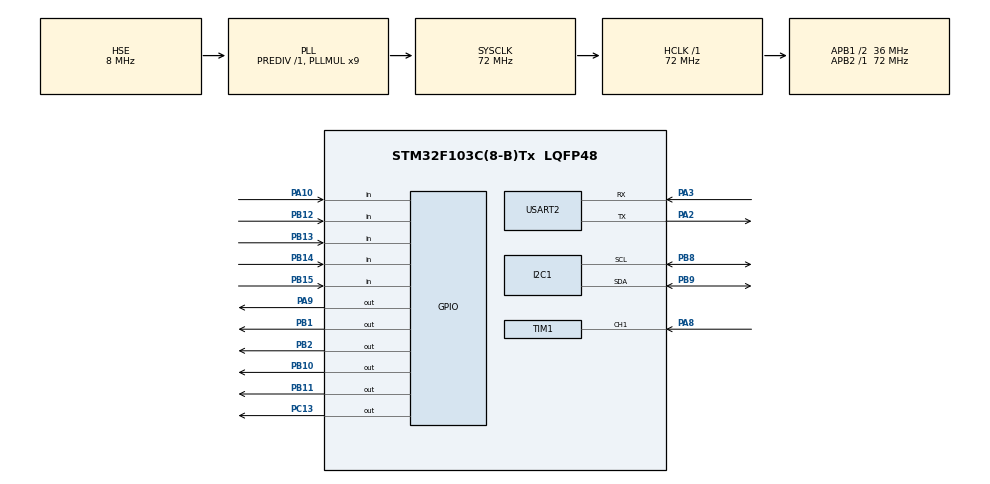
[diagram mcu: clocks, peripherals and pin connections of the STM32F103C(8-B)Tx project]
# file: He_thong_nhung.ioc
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Mcu.Family=STM32F1
Mcu.Name=STM32F103C(8-B)Tx
Mcu.Package=LQFP48
NVIC.PriorityGroup=NVIC_PRIORITYGROUP_4
NVIC.TIM1_CC_IRQn=true\:0\:0\:false\:false\:true\:true\:true\:true
NVIC.TIM1_UP_IRQn=true\:0\:0\:false\:false\:true\:true\:true\:true
NVIC.USART2_IRQn=true\:0\:0\:false\:false\:true\:true\:true\:true
PA10.GPIO_PuPd=GPIO_PULLDOWN
PA10.Signal=GPIO_Input
PA13.Mode=Serial_Wire
PA13.Signal=SYS_JTMS-SWDIO
PA14.Mode=Serial_Wire
PA14.Signal=SYS_JTCK-SWCLK
PA2.Mode=Asynchronous
PA2.Signal=USART2_TX
PA3.Mode=Asynchronous
PA3.Signal=USART2_RX
PA8.Signal=S_TIM1_CH1
PA9.Signal=GPIO_Output
PB1.GPIO_Speed=GPIO_SPEED_FREQ_HIGH
PB1.Signal=GPIO_Output
PB10.GPIO_Speed=GPIO_SPEED_FREQ_HIGH
PB10.Signal=GPIO_Output
PB11.GPIO_Speed=GPIO_SPEED_FREQ_HIGH
PB11.Signal=GPIO_Output
PB12.GPIO_PuPd=GPIO_PULLUP
PB12.Signal=GPIO_Input
PB13.GPIO_PuPd=GPIO_PULLUP
PB13.Signal=GPIO_Input
PB14.GPIO_PuPd=GPIO_PULLUP
PB14.Signal=GPIO_Input
PB15.GPIO_PuPd=GPIO_PULLUP
PB15.Signal=GPIO_Input
PB2.GPIO_Speed=GPIO_SPEED_FREQ_HIGH
PB2.Signal=GPIO_Output
PB8.Mode=I2C
PB8.Signal=I2C1_SCL
PB9.Mode=I2C
PB9.Signal=I2C1_SDA
PC13-TAMPER-RTC.Signal=GPIO_Output
PD0-OSC_IN.Mode=HSE-External-Oscillator
PD0-OSC_IN.Signal=RCC_OSC_IN
PD1-OSC_OUT.Mode=HSE-External-Oscillator
PD1-OSC_OUT.Signal=RCC_OSC_OUT
ProjectManager.HeapSize=0x200
ProjectManager.StackSize=0x400
ProjectManager.TargetToolchain=MDK-ARM V5.32
RCC.ADCPresc=RCC_ADCPCLK2_DIV6
RCC.AHBFreq_Value=72000000
RCC.APB1CLKDivider=RCC_HCLK_DIV2
RCC.APB1Freq_Value=36000000
RCC.APB1TimFreq_Value=72000000
RCC.APB2Freq_Value=72000000
RCC.APB2TimFreq_Value=72000000
RCC.HCLKFreq_Value=72000000
RCC.PLLMUL=RCC_PLL_MUL9
RCC.PLLSourceVirtual=RCC_PLLSOURCE_HSE
RCC.SYSCLKFreq_VALUE=72000000
RCC.SYSCLKSource=RCC_SYSCLKSOURCE_PLLCLK
RCC.USBFreq_Value=72000000
SH.S_TIM1_CH1.0=TIM1_CH1,Input_Capture1_from_TI1
TIM1.Channel-Input_Capture1_from_TI1=TIM_CHANNEL_1
TIM1.Prescaler=71
USART2.VirtualMode=VM_ASYNC
VP_TIM1_VS_ClockSourceINT.Mode=Internal
board=custom

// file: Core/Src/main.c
/* USER CODE BEGIN Header */
/**
  ******************************************************************************
  * @file           : main.c
  * @brief          : Main program body
  ******************************************************************************
  * @attention
  *
  * Copyright (c) 2025 STMicroelectronics.
  * All rights reserved.
  *
  * This software is licensed under terms that can be found in the LICENSE file
  * in the root directory of this software component.
  * If no LICENSE file comes with this software, it is provided AS-IS.
  *
  ******************************************************************************
  */
/* USER CODE END Header */
#include "main.h"

/* USER CODE BEGIN Includes */
#include "lcd_i2cModule.h"
#include "keypad_4x4.h"
#include "sr04.h"
#include "string.h"
#include <stdio.h>

/* USER CODE END Includes */

/* USER CODE BEGIN PTD */
#define HCSR04_PERIOD_MS 50
#define SOUNDSS_PERIOD_MS 50
#define KEYBOARD_PERIOD_MS 500
#define LCD_PERIOD_MS 250
#define UART_PERIOD_MS 50
/* USER CODE END PTD */

I2C_HandleTypeDef hi2c1;

TIM_HandleTypeDef htim1;

UART_HandleTypeDef huart2;

void SystemClock_Config(void);
static void MX_GPIO_Init(void);
static void MX_I2C1_Init(void);
static void MX_TIM1_Init(void);
static void MX_USART2_UART_Init(void);
/* USER CODE BEGIN PFP */
sr04_t sr04;
float khoang_cach = 0;
uint8_t sound = 0;
char key_val;
char buffer_sr04[20];
char buffer_kp[20];
char buffer_sound[20];
/* USER CODE END PFP */

/* USER CODE BEGIN 0 */
void handleHCSR04(void);
void handleSoundSensor(void);
void handleKeypad(void);
void handleLCD(void);
void handleUART(void);
/* USER CODE END 0 */

int main(void)
{

  /* MCU Configuration--------------------------------------------------------*/

  /* Reset of all peripherals, Initializes the Flash interface and the Systick. */
  HAL_Init();

  /* Configure the system clock */
  SystemClock_Config();

  /* Initialize all configured peripherals */
  MX_GPIO_Init();
  MX_I2C1_Init();
  MX_TIM1_Init();
  MX_USART2_UART_Init();
  /* USER CODE BEGIN 2 */
	//Init HCSR04
	sr04.trig_port = GPIOA;
  sr04.trig_pin = GPIO_PIN_9;
  sr04.echo_htim = &htim1;
  sr04.echo_channel = TIM_CHANNEL_1;
  sr04_init(&sr04);

	//Init LCD
	LCD_i2cDeviceCheck();
	LCD_Init();
	LCD_BackLight(LCD_BL_ON);

	//Init keypad
	keypad_init();
  /* USER CODE END 2 */

  /* Infinite loop */
  /* USER CODE BEGIN WHILE */
  while (1)
  {
		//Kiem tra va xu ly su kien cam bien am thanh
		handleSoundSensor();

		//Kiem tra va xu ly su kien cam bien sieu am
		handleHCSR04();

		//Kiem tra va xu ly su kien keypad
		handleKeypad();

		//Kiem tra va xu ly su kien LCD
		handleLCD();

		//Kiem tra va xu ly su kien UART
		handleUART();

    /* USER CODE END WHILE */

    /* USER CODE BEGIN 3 */

		HAL_Delay(100);
  }
  /* USER CODE END 3 */
}

void SystemClock_Config(void)
{
  RCC_OscInitTypeDef RCC_OscInitStruct = {0};
  RCC_ClkInitTypeDef RCC_ClkInitStruct = {0};

  /** Initializes the RCC Oscillators according to the specified parameters
  * in the RCC_OscInitTypeDef structure.
  */
  RCC_OscInitStruct.OscillatorType = RCC_OSCILLATORTYPE_HSE;
  RCC_OscInitStruct.HSEState = RCC_HSE_ON;
  RCC_OscInitStruct.HSEPredivValue = RCC_HSE_PREDIV_DIV1;
  RCC_OscInitStruct.HSIState = RCC_HSI_ON;
  RCC_OscInitStruct.PLL.PLLState = RCC_PLL_ON;
  RCC_OscInitStruct.PLL.PLLSource = RCC_PLLSOURCE_HSE;
  RCC_OscInitStruct.PLL.PLLMUL = RCC_PLL_MUL9;
  if (HAL_RCC_OscConfig(&RCC_OscInitStruct) != HAL_OK)
  {
    Error_Handler();
  }

  /** Initializes the CPU, AHB and APB buses clocks
  */
  RCC_ClkInitStruct.ClockType = RCC_CLOCKTYPE_HCLK|RCC_CLOCKTYPE_SYSCLK
                              |RCC_CLOCKTYPE_PCLK1|RCC_CLOCKTYPE_PCLK2;
  RCC_ClkInitStruct.SYSCLKSource = RCC_SYSCLKSOURCE_PLLCLK;
  RCC_ClkInitStruct.AHBCLKDivider = RCC_SYSCLK_DIV1;
  RCC_ClkInitStruct.APB1CLKDivider = RCC_HCLK_DIV2;
  RCC_ClkInitStruct.APB2CLKDivider = RCC_HCLK_DIV1;

  if (HAL_RCC_ClockConfig(&RCC_ClkInitStruct, FLASH_LATENCY_2) != HAL_OK)
  {
    Error_Handler();
  }
}

static void MX_I2C1_Init(void)
{

  hi2c1.Instance = I2C1;
  hi2c1.Init.ClockSpeed = 100000;
  hi2c1.Init.DutyCycle = I2C_DUTYCYCLE_2;
  hi2c1.Init.OwnAddress1 = 0;
  hi2c1.Init.AddressingMode = I2C_ADDRESSINGMODE_7BIT;
  hi2c1.Init.DualAddressMode = I2C_DUALADDRESS_DISABLE;
  hi2c1.Init.OwnAddress2 = 0;
  hi2c1.Init.GeneralCallMode = I2C_GENERALCALL_DISABLE;
  hi2c1.Init.NoStretchMode = I2C_NOSTRETCH_DISABLE;
  if (HAL_I2C_Init(&hi2c1) != HAL_OK)
  {
    Error_Handler();
  }

}

static void MX_TIM1_Init(void)
{

  TIM_ClockConfigTypeDef sClockSourceConfig = {0};
  TIM_MasterConfigTypeDef sMasterConfig = {0};
  TIM_IC_InitTypeDef sConfigIC = {0};

  htim1.Instance = TIM1;
  htim1.Init.Prescaler = 71;
  htim1.Init.CounterMode = TIM_COUNTERMODE_UP;
  htim1.Init.Period = 65535;
  htim1.Init.ClockDivision = TIM_CLOCKDIVISION_DIV1;
  htim1.Init.RepetitionCounter = 0;
  htim1.Init.AutoReloadPreload = TIM_AUTORELOAD_PRELOAD_DISABLE;
  if (HAL_TIM_Base_Init(&htim1) != HAL_OK)
  {
    Error_Handler();
  }
  sClockSourceConfig.ClockSource = TIM_CLOCKSOURCE_INTERNAL;
  if (HAL_TIM_ConfigClockSource(&htim1, &sClockSourceConfig) != HAL_OK)
  {
    Error_Handler();
  }
  if (HAL_TIM_IC_Init(&htim1) != HAL_OK)
  {
    Error_Handler();
  }
  sMasterConfig.MasterOutputTrigger = TIM_TRGO_RESET;
  sMasterConfig.MasterSlaveMode = TIM_MASTERSLAVEMODE_DISABLE;
  if (HAL_TIMEx_MasterConfigSynchronization(&htim1, &sMasterConfig) != HAL_OK)
  {
    Error_Handler();
  }
  sConfigIC.ICPolarity = TIM_INPUTCHANNELPOLARITY_RISING;
  sConfigIC.ICSelection = TIM_ICSELECTION_DIRECTTI;
  sConfigIC.ICPrescaler = TIM_ICPSC_DIV1;
  sConfigIC.ICFilter = 0;
  if (HAL_TIM_IC_ConfigChannel(&htim1, &sConfigIC, TIM_CHANNEL_1) != HAL_OK)
  {
    Error_Handler();
  }

}

static void MX_USART2_UART_Init(void)
{

  huart2.Instance = USART2;
  huart2.Init.BaudRate = 115200;
  huart2.Init.WordLength = UART_WORDLENGTH_8B;
  huart2.Init.StopBits = UART_STOPBITS_1;
  huart2.Init.Parity = UART_PARITY_NONE;
  huart2.Init.Mode = UART_MODE_TX_RX;
  huart2.Init.HwFlowCtl = UART_HWCONTROL_NONE;
  huart2.Init.OverSampling = UART_OVERSAMPLING_16;
  if (HAL_UART_Init(&huart2) != HAL_OK)
  {
    Error_Handler();
  }

}

static void MX_GPIO_Init(void)
{
  GPIO_InitTypeDef GPIO_InitStruct = {0};

  /* GPIO Ports Clock Enable */
  __HAL_RCC_GPIOC_CLK_ENABLE();
  __HAL_RCC_GPIOD_CLK_ENABLE();
  __HAL_RCC_GPIOA_CLK_ENABLE();
  __HAL_RCC_GPIOB_CLK_ENABLE();

  /*Configure GPIO pin Output Level */
  HAL_GPIO_WritePin(GPIOC, GPIO_PIN_13, GPIO_PIN_RESET);

  /*Configure GPIO pin Output Level */
  HAL_GPIO_WritePin(GPIOB, GPIO_PIN_1|GPIO_PIN_2|GPIO_PIN_10|GPIO_PIN_11, GPIO_PIN_RESET);

  /*Configure GPIO pin Output Level */
  HAL_GPIO_WritePin(GPIOA, GPIO_PIN_9, GPIO_PIN_RESET);

  /*Configure GPIO pin : PC13 */
  GPIO_InitStruct.Pin = GPIO_PIN_13;
  GPIO_InitStruct.Mode = GPIO_MODE_OUTPUT_PP;
  GPIO_InitStruct.Pull = GPIO_NOPULL;
  GPIO_InitStruct.Speed = GPIO_SPEED_FREQ_LOW;
  HAL_GPIO_Init(GPIOC, &GPIO_InitStruct);

  /*Configure GPIO pins : PB1 PB2 PB10 PB11 */
  GPIO_InitStruct.Pin = GPIO_PIN_1|GPIO_PIN_2|GPIO_PIN_10|GPIO_PIN_11;
  GPIO_InitStruct.Mode = GPIO_MODE_OUTPUT_PP;
  GPIO_InitStruct.Pull = GPIO_NOPULL;
  GPIO_InitStruct.Speed = GPIO_SPEED_FREQ_HIGH;
  HAL_GPIO_Init(GPIOB, &GPIO_InitStruct);

  /*Configure GPIO pins : PB12 PB13 PB14 PB15 */
  GPIO_InitStruct.Pin = GPIO_PIN_12|GPIO_PIN_13|GPIO_PIN_14|GPIO_PIN_15;
  GPIO_InitStruct.Mode = GPIO_MODE_INPUT;
  GPIO_InitStruct.Pull = GPIO_PULLUP;
  HAL_GPIO_Init(GPIOB, &GPIO_InitStruct);

  /*Configure GPIO pin : PA9 */
  GPIO_InitStruct.Pin = GPIO_PIN_9;
  GPIO_InitStruct.Mode = GPIO_MODE_OUTPUT_PP;
  GPIO_InitStruct.Pull = GPIO_NOPULL;
  GPIO_InitStruct.Speed = GPIO_SPEED_FREQ_LOW;
  HAL_GPIO_Init(GPIOA, &GPIO_InitStruct);

  /*Configure GPIO pin : PA10 */
  GPIO_InitStruct.Pin = GPIO_PIN_10;
  GPIO_InitStruct.Mode = GPIO_MODE_INPUT;
  GPIO_InitStruct.Pull = GPIO_PULLDOWN;
  HAL_GPIO_Init(GPIOA, &GPIO_InitStruct);

}

/* USER CODE BEGIN 4 */
//Handle HCSR04
void handleHCSR04(void)
{
  static uint32_t lastHCSR04Time = 0;
  uint32_t currentTime = HAL_GetTick();

	//Kiem tra thoi gian tre de goi lai cam bien HCSR04
  if (currentTime - lastHCSR04Time >= HCSR04_PERIOD_MS)
  {
    sr04_trigger(&sr04);
    khoang_cach = sr04.distance;
    snprintf(buffer_sr04, 50, "Distance: %.1fmm", khoang_cach);
    lastHCSR04Time = currentTime;
  }
}

//Handle Sound Sensor
void handleSoundSensor(void)
{
  static uint32_t lastSoundTime = 0;
  uint32_t currentTime = HAL_GetTick();

  // Kiem tra thoi gian tre de doc c?m bien am thanh
  if (currentTime - lastSoundTime >= SOUNDSS_PERIOD_MS)
  {
    if (HAL_GPIO_ReadPin(GPIOA, GPIO_PIN_10) == GPIO_PIN_RESET) {
      strcpy(buffer_sound, "YES ");
    }
    else {
      strcpy(buffer_sound, "NO ");
    }
    lastSoundTime = currentTime;
  }
}

//Handle keypad
void handleKeypad(void)
{
  static uint32_t lastKeypadTime = 0;
  uint32_t currentTime = HAL_GetTick();

  // Kiem tra thoi gian tre de doc ban phim
  if (currentTime - lastKeypadTime >= KEYBOARD_PERIOD_MS)
  {
    key_val = keypad_get_key_value();
    sprintf(buffer_kp, "Key: %c", key_val);
    lastKeypadTime = currentTime;
  }
}

//Handle LCD
void handleLCD(void)
{
	static uint32_t lastLCDTime = 0;
  uint32_t currentTime = HAL_GetTick();

	//Kiem tra thoi gian de hien thi LCD
	if (currentTime - lastLCDTime >= LCD_PERIOD_MS){
		//Hien thi khoang cach
		LCD_SetCursor(1, 1);
		LCD_Send_String(buffer_sr04, STR_NOSLIDE);

		//Hien thi trang thai am thanh
		LCD_SetCursor(2, 1);
		LCD_Send_String(buffer_sound, STR_NOSLIDE);

		//Hien thi keypad
		LCD_SetCursor(2, 7);
		LCD_Send_String(buffer_kp, STR_NOSLIDE);

		lastLCDTime = currentTime;
	}
}

//Handle UART
void handleUART(void)
{
	static uint32_t lastUARTTime = 0;
  uint32_t currentTime = HAL_GetTick();

	if (currentTime - lastUARTTime >= UART_PERIOD_MS){
		//Gui thong tin khoang cach len may tinh
		strcat(buffer_sr04, "\n");
		HAL_UART_Transmit(&huart2, (uint8_t*)buffer_sr04, strlen(buffer_sr04), HAL_MAX_DELAY);

		//Gui trang thai am thanh len may tinh
		strcat(buffer_sound, "\n");
		HAL_UART_Transmit(&huart2, (uint8_t*)buffer_sound, strlen(buffer_sound), HAL_MAX_DELAY);

		//Gui thong tin phim nhan keypad len may tinh
		strcat(buffer_kp, "\n");
		HAL_UART_Transmit(&huart2, (uint8_t*)buffer_kp, strlen(buffer_kp), HAL_MAX_DELAY);

		lastUARTTime = currentTime;
	}
}
/* USER CODE END 4 */

void Error_Handler(void)
{
  __disable_irq();
  while (1)
  {
  }
}
